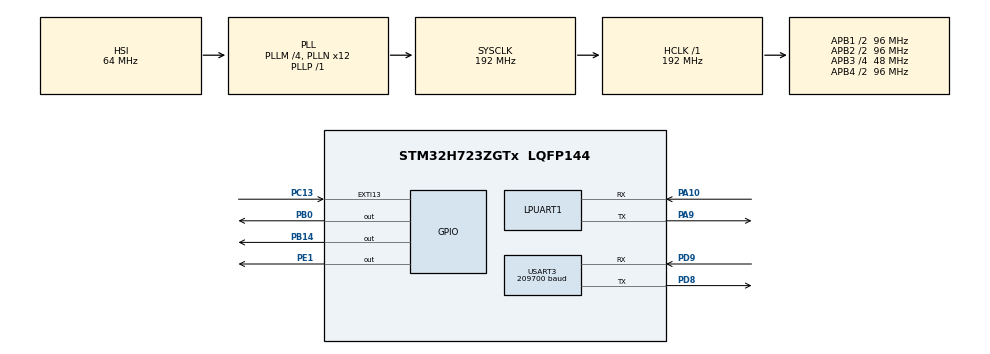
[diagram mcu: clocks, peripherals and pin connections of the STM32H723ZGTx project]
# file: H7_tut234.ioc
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CORTEX_M7.default_mode_Activation=1
Mcu.Family=STM32H7
Mcu.Name=STM32H723ZGTx
Mcu.Package=LQFP144
NVIC.EXTI15_10_IRQn=true\:0\:0\:false\:false\:true\:true\:true\:true
NVIC.LPUART1_IRQn=true\:0\:0\:false\:false\:true\:true\:true\:true
NVIC.PriorityGroup=NVIC_PRIORITYGROUP_4
NVIC.USART3_IRQn=true\:0\:0\:false\:false\:true\:true\:true\:true
PA10.Mode=Asynchronous
PA10.Signal=LPUART1_RX
PA13(JTMS/SWDIO).Mode=Serial_Wire
PA13(JTMS/SWDIO).Signal=DEBUG_JTMS-SWDIO
PA14(JTCK/SWCLK).Mode=Serial_Wire
PA14(JTCK/SWCLK).Signal=DEBUG_JTCK-SWCLK
PA9.Mode=Asynchronous
PA9.Signal=LPUART1_TX
PB0.Signal=GPIO_Output
PB14.Signal=GPIO_Output
PC13.GPIO_ModeDefaultEXTI=GPIO_MODE_IT_RISING
PC13.Signal=GPXTI13
PC14-OSC32_IN.Mode=LSE-External-Oscillator
PC14-OSC32_IN.Signal=RCC_OSC32_IN
PC15-OSC32_OUT.Mode=LSE-External-Oscillator
PC15-OSC32_OUT.Signal=RCC_OSC32_OUT
PD8.Mode=Asynchronous
PD8.Signal=USART3_TX
PD9.Mode=Asynchronous
PD9.Signal=USART3_RX
PE1.PinState=GPIO_PIN_RESET
PE1.Signal=GPIO_Output
PH0-OSC_IN.Mode=HSE-External-Oscillator
PH0-OSC_IN.Signal=RCC_OSC_IN
PH1-OSC_OUT.Mode=HSE-External-Oscillator
PH1-OSC_OUT.Signal=RCC_OSC_OUT
ProjectManager.HeapSize=0x200
ProjectManager.StackSize=0x400
ProjectManager.TargetToolchain=STM32CubeIDE
RCC.ADCFreq_Value=129000000
RCC.APB1Freq_Value=96000000
RCC.APB2Freq_Value=96000000
RCC.APB3Freq_Value=48000000
RCC.APB4Freq_Value=96000000
RCC.CortexFreq_Value=192000000
RCC.D1PPRE=RCC_APB3_DIV4
RCC.D2PPRE1=RCC_APB1_DIV2
RCC.D2PPRE2=RCC_APB2_DIV2
RCC.D3PPRE=RCC_APB4_DIV2
RCC.DIVM1=4
RCC.DIVN1=12
RCC.DIVP1=1
RCC.HCLKFreq_Value=192000000
RCC.PLL2FRACN=0
RCC.PLL3FRACN=0
RCC.PLLFRACN=0
RCC.SYSCLKFreq_VALUE=192000000
RCC.SYSCLKSource=RCC_SYSCLKSOURCE_PLLCLK
RCC.USBFreq_Value=96000000
USART3.BaudRate=209700
USART3.VirtualMode-Asynchronous=VM_ASYNC
VP_MEMORYMAP_VS_MEMORYMAP.Mode=CurAppReg
board=custom

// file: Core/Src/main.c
/* USER CODE BEGIN Header */
/**
  ******************************************************************************
  * @file           : main.c
  * @brief          : Main program body
  ******************************************************************************
  * @attention
  *
  * Copyright (c) 2025 STMicroelectronics.
  * All rights reserved.
  *
  * This software is licensed under terms that can be found in the LICENSE file
  * in the root directory of this software component.
  * If no LICENSE file comes with this software, it is provided AS-IS.
  *
  ******************************************************************************
  */
/* USER CODE END Header */
#include "main.h"

/* USER CODE BEGIN Includes */
#include <string.h>
#include <stdio.h>
/* USER CODE END Includes */

UART_HandleTypeDef hlpuart1;
UART_HandleTypeDef huart3;

void SystemClock_Config(void);
static void MPU_Config(void);
static void MX_GPIO_Init(void);
static void MX_USART3_UART_Init(void);
static void MX_LPUART1_UART_Init(void);

/* USER CODE BEGIN 0 */

void HAL_UART_TxCpltCallback(UART_HandleTypeDef *huart)
{
  /* Prevent unused argument(s) compilation warning */
  if(huart == &huart3)
	  HAL_GPIO_TogglePin(GPIOE, GPIO_PIN_1);

  /* NOTE : This function should not be modified, when the callback is needed,
            the HAL_UART_TxCpltCallback can be implemented in the user file.
   */
}

char * hp = "Im the man\n\r";
int volatile flag = 0;
uint32_t now = 0;
uint32_t lastime = 0;
char buffer[50];
/* USER CODE END 0 */

int main(void)
{

  /* MPU Configuration--------------------------------------------------------*/
  MPU_Config();

  /* MCU Configuration--------------------------------------------------------*/

  /* Reset of all peripherals, Initializes the Flash interface and the Systick. */
  HAL_Init();

  /* Configure the system clock */
  SystemClock_Config();

  /* Initialize all configured peripherals */
  MX_GPIO_Init();
  MX_USART3_UART_Init();
  MX_LPUART1_UART_Init();

  /* Infinite loop */
  /* USER CODE BEGIN WHILE */
  while (1)
  {
	  if (flag == 1){
		  now = HAL_GetTick(); // 1 ms free-running counter (SysTick)

		  if(now - lastime > 500){ // you get 501 as num
			 int num = (now - lastime);
			 HAL_GPIO_TogglePin(GPIOB, GPIO_PIN_14);
			 snprintf(buffer, sizeof(buffer), "Toggling the Red User LED %d time\n\r", num);
			 HAL_UART_Transmit_IT(&huart3, (uint8_t *)buffer, strlen(buffer));
			 lastime = now; // reschedule next 500 ms window
		  }
	  }
    /* USER CODE END WHILE */

  }
}

void SystemClock_Config(void)
{
  RCC_OscInitTypeDef RCC_OscInitStruct = {0};
  RCC_ClkInitTypeDef RCC_ClkInitStruct = {0};

  /** Supply configuration update enable
  */
  HAL_PWREx_ConfigSupply(PWR_LDO_SUPPLY);

  /** Configure the main internal regulator output voltage
  */
  __HAL_PWR_VOLTAGESCALING_CONFIG(PWR_REGULATOR_VOLTAGE_SCALE1);

  while(!__HAL_PWR_GET_FLAG(PWR_FLAG_VOSRDY)) {}

  /** Initializes the RCC Oscillators according to the specified parameters
  * in the RCC_OscInitTypeDef structure.
  */
  RCC_OscInitStruct.OscillatorType = RCC_OSCILLATORTYPE_HSI;
  RCC_OscInitStruct.HSIState = RCC_HSI_DIV1;
  RCC_OscInitStruct.HSICalibrationValue = 64;
  RCC_OscInitStruct.PLL.PLLState = RCC_PLL_ON;
  RCC_OscInitStruct.PLL.PLLSource = RCC_PLLSOURCE_HSI;
  RCC_OscInitStruct.PLL.PLLM = 4;
  RCC_OscInitStruct.PLL.PLLN = 12;
  RCC_OscInitStruct.PLL.PLLP = 1;
  RCC_OscInitStruct.PLL.PLLQ = 2;
  RCC_OscInitStruct.PLL.PLLR = 2;
  RCC_OscInitStruct.PLL.PLLRGE = RCC_PLL1VCIRANGE_3;
  RCC_OscInitStruct.PLL.PLLVCOSEL = RCC_PLL1VCOWIDE;
  RCC_OscInitStruct.PLL.PLLFRACN = 0;
  if (HAL_RCC_OscConfig(&RCC_OscInitStruct) != HAL_OK)
  {
    Error_Handler();
  }

  /** Initializes the CPU, AHB and APB buses clocks
  */
  RCC_ClkInitStruct.ClockType = RCC_CLOCKTYPE_HCLK|RCC_CLOCKTYPE_SYSCLK
                              |RCC_CLOCKTYPE_PCLK1|RCC_CLOCKTYPE_PCLK2
                              |RCC_CLOCKTYPE_D3PCLK1|RCC_CLOCKTYPE_D1PCLK1;
  RCC_ClkInitStruct.SYSCLKSource = RCC_SYSCLKSOURCE_PLLCLK;
  RCC_ClkInitStruct.SYSCLKDivider = RCC_SYSCLK_DIV1;
  RCC_ClkInitStruct.AHBCLKDivider = RCC_HCLK_DIV1;
  RCC_ClkInitStruct.APB3CLKDivider = RCC_APB3_DIV4;
  RCC_ClkInitStruct.APB1CLKDivider = RCC_APB1_DIV2;
  RCC_ClkInitStruct.APB2CLKDivider = RCC_APB2_DIV2;
  RCC_ClkInitStruct.APB4CLKDivider = RCC_APB4_DIV2;

  if (HAL_RCC_ClockConfig(&RCC_ClkInitStruct, FLASH_LATENCY_2) != HAL_OK)
  {
    Error_Handler();
  }
}

static void MX_LPUART1_UART_Init(void)
{

  hlpuart1.Instance = LPUART1;
  hlpuart1.Init.BaudRate = 209700;
  hlpuart1.Init.WordLength = UART_WORDLENGTH_8B;
  hlpuart1.Init.StopBits = UART_STOPBITS_1;
  hlpuart1.Init.Parity = UART_PARITY_NONE;
  hlpuart1.Init.Mode = UART_MODE_TX_RX;
  hlpuart1.Init.HwFlowCtl = UART_HWCONTROL_NONE;
  hlpuart1.Init.OneBitSampling = UART_ONE_BIT_SAMPLE_DISABLE;
  hlpuart1.Init.ClockPrescaler = UART_PRESCALER_DIV1;
  hlpuart1.AdvancedInit.AdvFeatureInit = UART_ADVFEATURE_NO_INIT;
  hlpuart1.FifoMode = UART_FIFOMODE_DISABLE;
  if (HAL_UART_Init(&hlpuart1) != HAL_OK)
  {
    Error_Handler();
  }
  if (HAL_UARTEx_SetTxFifoThreshold(&hlpuart1, UART_TXFIFO_THRESHOLD_1_8) != HAL_OK)
  {
    Error_Handler();
  }
  if (HAL_UARTEx_SetRxFifoThreshold(&hlpuart1, UART_RXFIFO_THRESHOLD_1_8) != HAL_OK)
  {
    Error_Handler();
  }
  if (HAL_UARTEx_DisableFifoMode(&hlpuart1) != HAL_OK)
  {
    Error_Handler();
  }

}

static void MX_USART3_UART_Init(void)
{

  huart3.Instance = USART3;
  huart3.Init.BaudRate = 209700;
  huart3.Init.WordLength = UART_WORDLENGTH_8B;
  huart3.Init.StopBits = UART_STOPBITS_1;
  huart3.Init.Parity = UART_PARITY_NONE;
  huart3.Init.Mode = UART_MODE_TX_RX;
  huart3.Init.HwFlowCtl = UART_HWCONTROL_NONE;
  huart3.Init.OverSampling = UART_OVERSAMPLING_16;
  huart3.Init.OneBitSampling = UART_ONE_BIT_SAMPLE_DISABLE;
  huart3.Init.ClockPrescaler = UART_PRESCALER_DIV1;
  huart3.AdvancedInit.AdvFeatureInit = UART_ADVFEATURE_NO_INIT;
  if (HAL_UART_Init(&huart3) != HAL_OK)
  {
    Error_Handler();
  }
  if (HAL_UARTEx_SetTxFifoThreshold(&huart3, UART_TXFIFO_THRESHOLD_1_8) != HAL_OK)
  {
    Error_Handler();
  }
  if (HAL_UARTEx_SetRxFifoThreshold(&huart3, UART_RXFIFO_THRESHOLD_1_8) != HAL_OK)
  {
    Error_Handler();
  }
  if (HAL_UARTEx_DisableFifoMode(&huart3) != HAL_OK)
  {
    Error_Handler();
  }

}

static void MX_GPIO_Init(void)
{
  GPIO_InitTypeDef GPIO_InitStruct = {0};

  /* GPIO Ports Clock Enable */
  __HAL_RCC_GPIOC_CLK_ENABLE();
  __HAL_RCC_GPIOH_CLK_ENABLE();
  __HAL_RCC_GPIOB_CLK_ENABLE();
  __HAL_RCC_GPIOD_CLK_ENABLE();
  __HAL_RCC_GPIOA_CLK_ENABLE();
  __HAL_RCC_GPIOE_CLK_ENABLE();

  /*Configure GPIO pin Output Level */
  HAL_GPIO_WritePin(GPIOB, GPIO_PIN_0|GPIO_PIN_14, GPIO_PIN_RESET);

  /*Configure GPIO pin Output Level */
  HAL_GPIO_WritePin(GPIOE, GPIO_PIN_1, GPIO_PIN_RESET);

  /*Configure GPIO pin : PC13 */
  GPIO_InitStruct.Pin = GPIO_PIN_13;
  GPIO_InitStruct.Mode = GPIO_MODE_IT_RISING;
  GPIO_InitStruct.Pull = GPIO_NOPULL;
  HAL_GPIO_Init(GPIOC, &GPIO_InitStruct);

  /*Configure GPIO pins : PB0 PB14 */
  GPIO_InitStruct.Pin = GPIO_PIN_0|GPIO_PIN_14;
  GPIO_InitStruct.Mode = GPIO_MODE_OUTPUT_PP;
  GPIO_InitStruct.Pull = GPIO_NOPULL;
  GPIO_InitStruct.Speed = GPIO_SPEED_FREQ_LOW;
  HAL_GPIO_Init(GPIOB, &GPIO_InitStruct);

  /*Configure GPIO pin : PE1 */
  GPIO_InitStruct.Pin = GPIO_PIN_1;
  GPIO_InitStruct.Mode = GPIO_MODE_OUTPUT_PP;
  GPIO_InitStruct.Pull = GPIO_NOPULL;
  GPIO_InitStruct.Speed = GPIO_SPEED_FREQ_LOW;
  HAL_GPIO_Init(GPIOE, &GPIO_InitStruct);

  /* EXTI interrupt init*/
  HAL_NVIC_SetPriority(EXTI15_10_IRQn, 0, 0);
  HAL_NVIC_EnableIRQ(EXTI15_10_IRQn);

}

/* USER CODE BEGIN 4 */
 void HAL_GPIO_EXTI_Callback(uint16_t GPIO_Pin)
{
  /* Prevent unused argument(s) compilation warning */

  if(GPIO_Pin == GPIO_PIN_13){
	  size_t length = strlen(hp);
	  HAL_UART_Transmit_IT(&huart3, (uint8_t *)hp, length);
	  HAL_GPIO_TogglePin(GPIOB, GPIO_PIN_0);
	  flag = 1;
  }
  /* NOTE: This function Should not be modified, when the callback is needed,
           the HAL_GPIO_EXTI_Callback could be implemented in the user file
   */
}

/* USER CODE END 4 */

 /* MPU Configuration */

void MPU_Config(void)
{
  MPU_Region_InitTypeDef MPU_InitStruct = {0};

  /* Disables the MPU */
  HAL_MPU_Disable();

  /** Initializes and configures the Region and the memory to be protected
  */
  MPU_InitStruct.Enable = MPU_REGION_ENABLE;
  MPU_InitStruct.Number = MPU_REGION_NUMBER0;
  MPU_InitStruct.BaseAddress = 0x0;
  MPU_InitStruct.Size = MPU_REGION_SIZE_4GB;
  MPU_InitStruct.SubRegionDisable = 0x87;
  MPU_InitStruct.TypeExtField = MPU_TEX_LEVEL0;
  MPU_InitStruct.AccessPermission = MPU_REGION_NO_ACCESS;
  MPU_InitStruct.DisableExec = MPU_INSTRUCTION_ACCESS_DISABLE;
  MPU_InitStruct.IsShareable = MPU_ACCESS_SHAREABLE;
  MPU_InitStruct.IsCacheable = MPU_ACCESS_NOT_CACHEABLE;
  MPU_InitStruct.IsBufferable = MPU_ACCESS_NOT_BUFFERABLE;

  HAL_MPU_ConfigRegion(&MPU_InitStruct);
  /* Enables the MPU */
  HAL_MPU_Enable(MPU_PRIVILEGED_DEFAULT);

}

void Error_Handler(void)
{
  __disable_irq();
  while (1)
  {
  }
}
